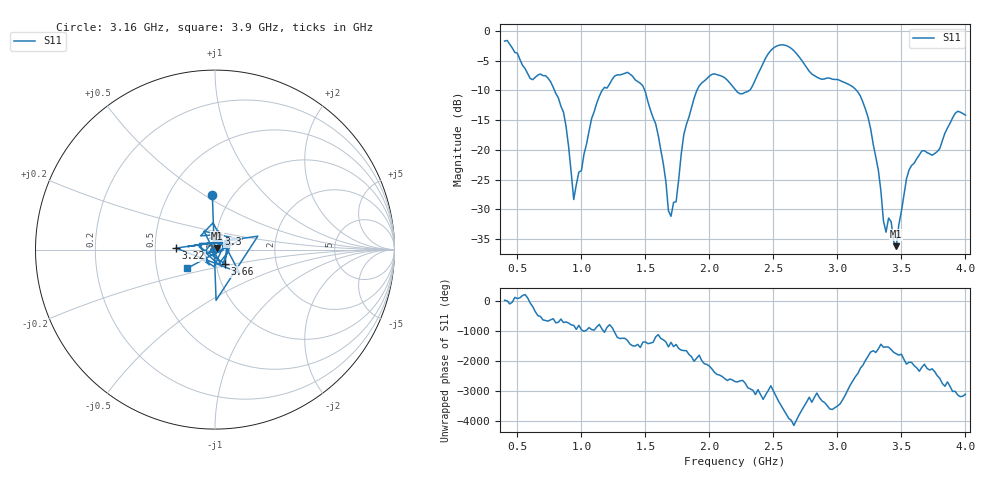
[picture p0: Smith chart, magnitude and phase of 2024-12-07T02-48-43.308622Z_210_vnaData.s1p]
!Created with skrf (http://scikit-rf.org).
# Hz S RI R 50.0
!freq ReS11 ImS11
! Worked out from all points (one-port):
!   181 points, 400 MHz to 4 GHz, reference 50 ohm
!   lowest |S11| = -36.2 dB at 3.46 GHz (marker M1), VSWR 1.03, Z = 51.3 + j0.945 ohm
!   |S11| at or under -10 dB: 789.8 MHz to 1.163 GHz (372.9 MHz wide, 38.2 % of centre); 1.494 GHz to 1.903 GHz (408.3 MHz wide, 24 % of centre); 3.149 GHz to end of sweep (the widest 3 of 4)
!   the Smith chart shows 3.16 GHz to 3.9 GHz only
!   S11 on the Smith chart (normalised r, x): 3.16 GHz: 0.81, +0.54; 3.22 GHz: 0.64, +0.01; 3.3 GHz: 1.02, +0.18; 3.66 GHz: 1.10, -0.18; 3.9 GHz: 0.72, -0.15
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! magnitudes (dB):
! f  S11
! 400 MHz  -1.7
! 600 MHz  -8.0
! 740 MHz  -8.0
! 860 MHz  -13.7
! 940 MHz  -28.4
! 1.12 GHz  -12.1
! 1.3 GHz  -7.4
! 1.5 GHz  -10.3
! 1.6 GHz  -17.5
! 1.7 GHz  -31.2
! 1.76 GHz  -25.0
! 1.8 GHz  -17.5
! 1.92 GHz  -9.3
! 2.2 GHz  -9.8
! 2.32 GHz  -9.9
! 2.52 GHz  -2.6
! 2.66 GHz  -3.4
! 3.1 GHz  -9.1
! 3.16 GHz  -10.3
! 3.22 GHz  -13.2
! 3.3 GHz  -21.2
! 3.36 GHz  -32.0
! 3.46 GHz  -36.2
! 3.56 GHz  -23.4
! 3.66 GHz  -20.2
! 3.78 GHz  -20.3
! 3.9 GHz  -14.6
! 4 GHz  -14.2
